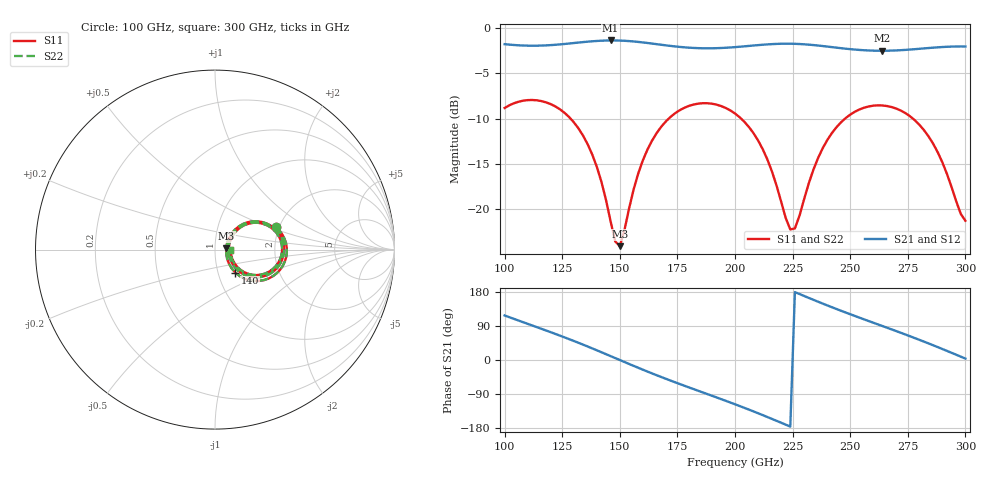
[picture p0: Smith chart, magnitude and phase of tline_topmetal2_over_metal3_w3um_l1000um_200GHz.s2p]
#  GHZ S DB R 50
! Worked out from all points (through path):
!   101 points, 100 GHz to 300 GHz, reference 50 ohm
!   highest |S21| = -1.38 dB at 146 GHz (marker M1); lowest = -2.5 dB at 264 GHz (marker M2)
!   group delay of S21, straight-line fit = 6.6 ps
!   lowest |S11| = -24.1 dB at 150 GHz (marker M3), VSWR 1.13, Z = 56.6 + j0.792 ohm
!   |S11| at or under -10 dB: 128.6 GHz to 171.3 GHz (42.65 GHz wide, 28.4 % of centre); 202.6 GHz to 247.8 GHz (45.15 GHz wide, 20 % of centre); 277.2 GHz to end of sweep
!   |S22| runs from -24.0 to -8.0 dB; largest |S21 - S12| = 1.4e-13
!   S11 on the Smith chart (normalised r, x): 100 GHz: 1.92, +0.56; 140 GHz: 1.21, -0.32; 300 GHz: 1.19, -0.01
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100  -8.83 20.4  -1.79 117.5  -1.79 117.5  -8.84 20.5
118  -8.21 -13.3  -1.92 77.9  -1.92 77.9  -8.21 -13.2
134  -11.86 -41.9  -1.56 40.6  -1.56 40.6  -11.86 -41.8
140  -15.30 -48.5  -1.44 25.7  -1.44 25.7  -15.31 -48.4
146  -21.32 -37.7  -1.38 10.3  -1.38 10.3  -21.31 -37.5
148  -23.55 -20.3  -1.38 5.1  -1.38 5.1  -23.51 -20.0
150  -24.07 6.4  -1.40 -0.1  -1.40 -0.1  -24.02 6.5
158  -16.05 45.0  -1.54 -20.5  -1.54 -20.5  -16.04 44.9
168  -10.90 33.6  -1.86 -44.9  -1.86 -44.9  -10.89 33.5
184  -8.35 5.3  -2.23 -81.1  -2.23 -81.1  -8.35 5.2
200  -9.44 -23.1  -2.12 -116.8  -2.12 -116.8  -9.44 -23.2
212  -13.35 -40.5  -1.85 -145.4  -1.85 -145.4  -13.37 -40.8
224  -22.23 -9.0  -1.74 -175.7  -1.74 -175.7  -22.36 -9.1
226  -22.11 11.1  -1.75 179.2  -1.75 179.2  -22.24 11.3
234  -15.65 41.4  -1.89 158.9  -1.89 158.9  -15.68 41.7
240  -12.39 37.3  -2.05 144.2  -2.05 144.2  -12.40 37.5
248  -9.95 25.5  -2.29 125.4  -2.29 125.4  -9.96 25.6
264  -8.55 -1.9  -2.52 89.6  -2.52 89.6  -8.56 -1.9
268  -8.73 -8.8  -2.50 80.7  -2.50 80.7  -8.74 -8.8
284  -11.96 -33.9  -2.22 43.7  -2.22 43.7  -11.98 -34.1
292  -16.10 -37.7  -2.08 24.0  -2.08 24.0  -16.17 -38.2
300  -21.27 -3.2  -2.05 3.8  -2.05 3.8  -21.49 -3.1
